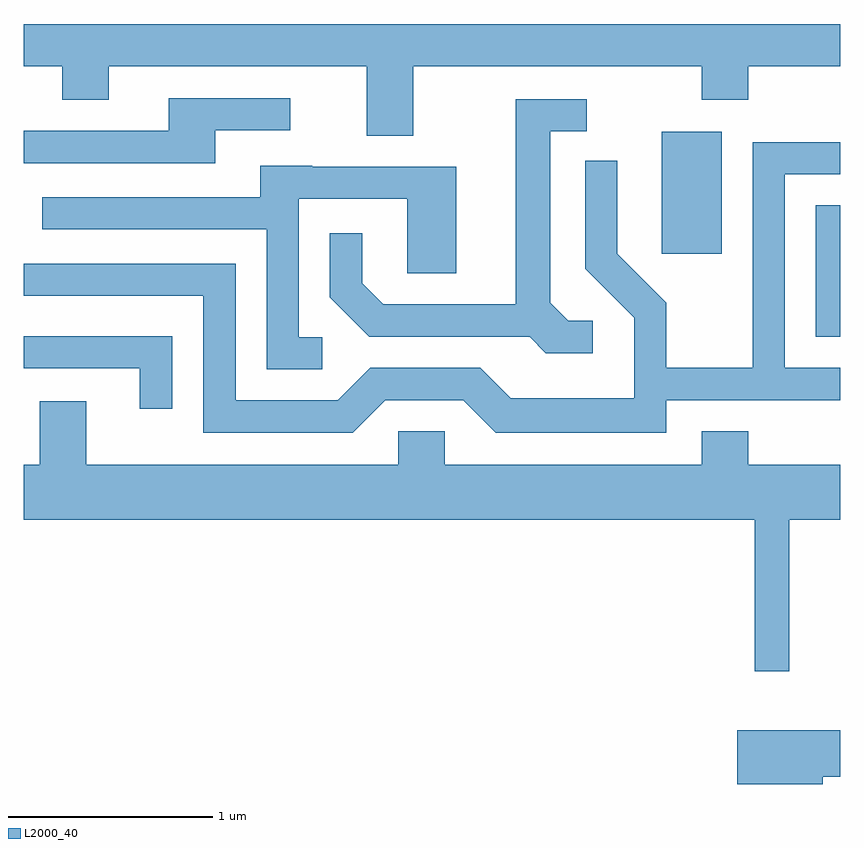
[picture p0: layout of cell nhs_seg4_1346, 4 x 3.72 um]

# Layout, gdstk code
import gdstk
lib = gdstk.Library(unit=1e-6, precision=1e-09)
def R(c, l, rs):  # rectangles x0, y0, x1, y1
    for r in rs: c.add(gdstk.rectangle(r[:2], r[2:], *l))
def P(c, l, *ps):  # polygons
    for p in ps: c.add(gdstk.Polygon(p, *l))
L2000_40 = (2000, 40)

nhs_seg4_1346 = lib.new_cell('nhs_seg4_1346')
R(nhs_seg4_1346, L2000_40, [(227.491,1364.451,227.611,1365.094), (226.736,1364.856,227.029,1365.454)])
P(nhs_seg4_1346, L2000_40, [(225.519,1365.776),(226.931,1365.776),(226.931,1365.611),(227.159,1365.611),(227.159,1365.776),(227.611,1365.776),(227.611,1365.982),(223.611,1365.982),(223.611,1365.776),(223.801,1365.776),(223.801,1365.611),(224.029,1365.611),(224.029,1365.776),(225.291,1365.776),(225.291,1365.436),(225.519,1365.436)],
  [(224.549,1365.461),(224.918,1365.461),(224.918,1365.619),(224.321,1365.619),(224.321,1365.459),(223.611,1365.459),(223.611,1365.301),(224.549,1365.301)],
  [(226.398,1364.529),(226.277,1364.529),(226.189,1364.617),(226.189,1365.456),(226.368,1365.456),(226.368,1365.614),(226.021,1365.614),(226.021,1364.609),(225.372,1364.609),(225.269,1364.712),(225.269,1364.958),(225.111,1364.958),(225.111,1364.644),(225.304,1364.451),(226.089,1364.451),(226.169,1364.371),(226.398,1364.371)],
  [(225.382,1364.141),(225.764,1364.141),(225.924,1363.981),(226.759,1363.981),(226.759,1364.141),(227.611,1364.141),(227.611,1364.299),(227.339,1364.299),(227.339,1365.246),(227.611,1365.246),(227.611,1365.404),(227.181,1365.404),(227.181,1364.299),(226.759,1364.299),(226.759,1364.617),(226.519,1364.857),(226.519,1365.313),(226.361,1365.313),(226.361,1364.784),(226.601,1364.544),(226.601,1364.149),(225.997,1364.149),(225.847,1364.299),(225.309,1364.299),(225.149,1364.139),(224.649,1364.139),(224.649,1364.809),(223.611,1364.809),(223.611,1364.651),(224.491,1364.651),(224.491,1363.981),(225.222,1363.981)],
  [(225.073,1364.449),(224.959,1364.449),(224.959,1365.126),(225.491,1365.126),(225.491,1364.761),(225.729,1364.761),(225.729,1365.284),(225.025,1365.284),(225.025,1365.289),(224.771,1365.289),(224.771,1365.134),(223.703,1365.134),(223.703,1364.976),(224.801,1364.976),(224.801,1364.291),(225.073,1364.291)],
  [(224.339,1364.454),(223.611,1364.454),(223.611,1364.296),(224.181,1364.296),(224.181,1364.098),(224.339,1364.098)],
  [(227.359,1363.556),(227.611,1363.556),(227.611,1363.824),(227.159,1363.824),(227.159,1363.989),(226.931,1363.989),(226.931,1363.824),(225.674,1363.824),(225.674,1363.989),(225.446,1363.989),(225.446,1363.824),(223.919,1363.824),(223.919,1364.134),(223.691,1364.134),(223.691,1363.824),(223.611,1363.824),(223.611,1363.556),(227.191,1363.556),(227.191,1362.813),(227.359,1362.813)],
  [(227.524,1362.296),(227.611,1362.296),(227.611,1362.524),(227.106,1362.524),(227.106,1362.261),(227.524,1362.261)])

lib.write_gds('nhs_seg4_1346.gds')
